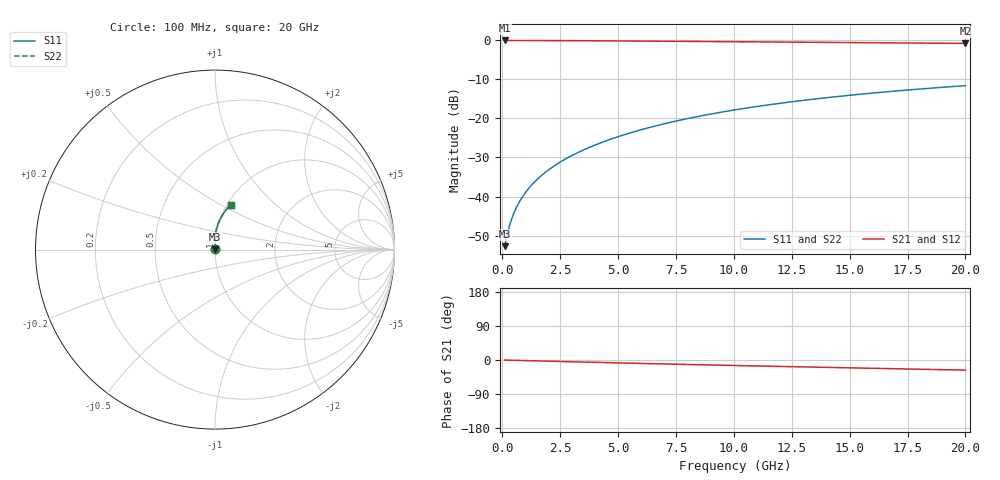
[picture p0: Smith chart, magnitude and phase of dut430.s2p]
! Touchstone file exported from HFSS 2024.1.0
!  File:  C:/UserFiles/LocalFiles/RDL_TSV_Batchsim/temp_RDL_bottom_430_1779684206.aedt
!  Generated:  12:46:24 PM May 25, 2026
!  Design:  RDL_bottom
!  Project:  temp_RDL_bottom_430_1779684206
!  Setup:  Setup1
!  Solution:  Sweep
! Variables:
!  dtsv = 10.80580581um
!  hbump = 3um
!  htsv = 80.08um
!  ldown = 343.17um
!  lrdl = 100um
!  p = 40
!  p1 = 56.25um
!  rhole = 1um
!  t = 450um
!  tdown = 2.71um
!  trdl = 3.915915916um
!  wdown = 27.21um
!  wrdl = 20um
# GHz S MA R 50.000000
! Terminal data exported
! Port[1] = RDL1_T1
! Port[2] = RDL1_T2
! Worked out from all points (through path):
!   200 points, 100 MHz to 20 GHz, reference 50 ohm
!   highest |S21| = -0.02 dB at 100 MHz (marker M1); lowest = -0.8 dB at 20 GHz (marker M2)
!   group delay of S21, straight-line fit = 3.66 ps
!   lowest |S11| = -52.7 dB at 100 MHz (marker M3), VSWR 1.00, Z = 50.2 + j0.122 ohm
!   |S11| at or under -10 dB: start of sweep to end of sweep
!   |S22| runs from -52.7 to -11.6 dB; largest |S21 - S12| = 4.3e-15
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0.1  0.002311 31.6  0.998 -0.2  0.998 -0.2  0.002311 31.6
! Gamma 0 0 0 0
! Port Impedance 50 0 50 0
0.2  0.003143 49.5  0.9979 -0.3  0.9979 -0.3  0.003143 49.5
0.3  0.004116 58.9  0.9978 -0.5  0.9978 -0.5  0.004116 58.9
0.4  0.005119 64.4  0.9977 -0.7  0.9977 -0.7  0.005119 64.4
0.5  0.006126 68.3  0.9975 -0.8  0.9975 -0.8  0.006126 68.3
0.6  0.007135 71.1  0.9974 -1.0  0.9974 -1.0  0.007135 71.1
0.8  0.009167 75.2  0.9971 -1.3  0.9971 -1.3  0.009167 75.2
1.1  0.01227 79.2  0.9967 -1.8  0.9967 -1.8  0.01227 79.2
1.3  0.01437 81.0  0.9964 -2.1  0.9964 -2.1  0.01437 81.0
1.6  0.01759 83.1  0.9958 -2.6  0.9958 -2.6  0.01758 83.1
2.1  0.02308 85.5  0.9947 -3.3  0.9947 -3.3  0.02308 85.4
2.7  0.02991 87.2  0.9931 -4.3  0.9931 -4.3  0.02991 87.2
3.5  0.03941 88.6  0.9905 -5.5  0.9905 -5.5  0.03941 88.6
4.2  0.0481 89.1  0.9879 -6.5  0.9879 -6.5  0.0481 89.1
5  0.05841 89.3  0.9846 -7.7  0.9846 -7.7  0.05841 89.3
6.8  0.08279 88.5  0.9765 -10.2  0.9765 -10.2  0.08278 88.5
8.4  0.1053 86.9  0.9691 -12.4  0.9691 -12.4  0.1053 86.9
10.1  0.1295 84.7  0.9612 -14.6  0.9612 -14.6  0.1295 84.7
11.7  0.1523 82.5  0.9538 -16.6  0.9538 -16.6  0.1523 82.5
13.4  0.1761 80.0  0.946 -18.8  0.946 -18.8  0.1761 80.0
16.7  0.2209 75.3  0.9308 -22.8  0.9308 -22.8  0.2209 75.3
20  0.2631 70.7  0.9154 -26.7  0.9154 -26.7  0.2631 70.7
